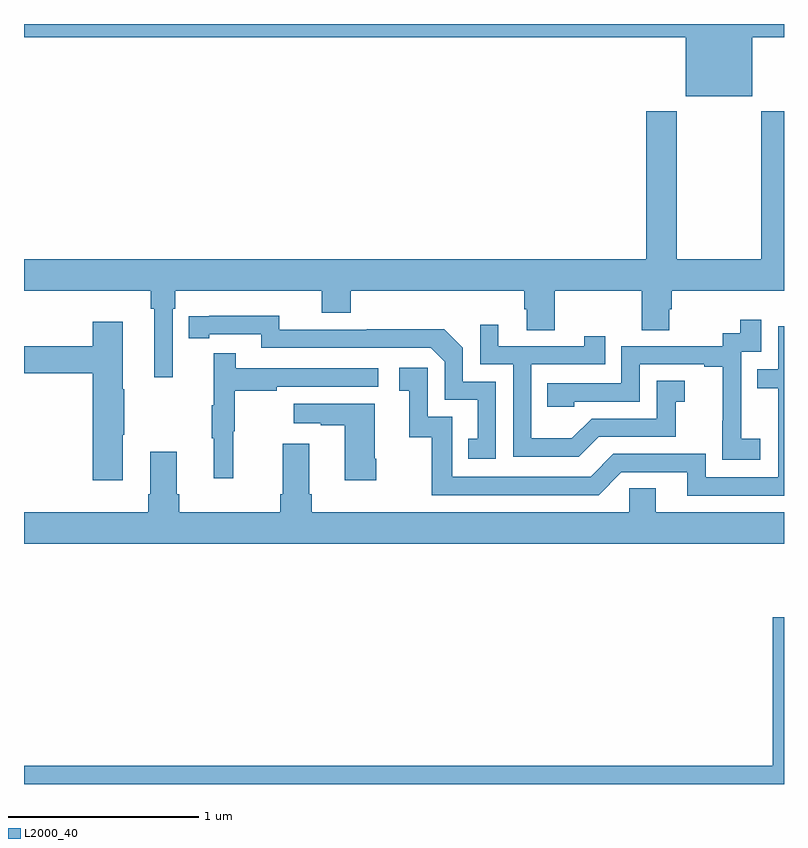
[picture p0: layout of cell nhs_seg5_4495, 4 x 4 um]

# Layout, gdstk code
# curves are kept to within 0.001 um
import gdstk
lib = gdstk.Library(unit=1e-6, precision=1e-09)
def P(c, l, *ps):  # polygons
    for p in ps: c.add(gdstk.Polygon(p, *l))
L2000_40 = (2000, 40)

nhs_seg5_4495 = lib.new_cell('nhs_seg5_4495')
P(nhs_seg5_4495, L2000_40, [(378.832,888.728),(379,888.728),(379,888.799),(375,888.799),(375,888.728),(378.482,888.728),(378.482,888.419),(378.832,888.419)],
  [(375.783,887.3),(375.797,887.3),(375.797,887.396),(376.568,887.396),(376.568,887.279),(376.721,887.279),(376.721,887.396),(377.633,887.396),(377.633,887.298),(377.645,887.298),(377.645,887.188),(377.793,887.188),(377.793,887.396),(378.25,887.396),(378.25,887.188),(378.397,887.188),(378.397,887.298),(378.41,887.298),(378.41,887.396),(379,887.396),(379,888.34),(378.88,888.34),(378.88,887.56),(378.435,887.56),(378.435,888.34),(378.275,888.34),(378.275,887.56),(375,887.56),(375,887.396),(375.667,887.396),(375.667,887.3),(375.686,887.3),(375.686,886.941),(375.783,886.941)],
  [(377.484,886.917),(377.31,886.917),(377.31,887.094),(377.212,887.192),(376.804,887.192),(376.804,887.19),(376.344,887.19),(376.344,887.263),(375.868,887.262),(375.868,887.146),(375.976,887.146),(375.976,887.166),(376.248,887.166),(376.248,887.094),(377.142,887.094),(377.214,887.022),(377.214,886.821),(377.387,886.821),(377.387,886.617),(377.338,886.617),(377.338,886.512),(377.484,886.512)],
  [(378.874,886.615),(378.776,886.615),(378.776,886.844),(378.774,886.844),(378.774,887.073),(378.879,887.073),(378.879,887.242),(378.771,887.242),(378.771,887.172),(378.678,887.172),(378.678,887.103),(378.144,887.103),(378.144,886.908),(377.755,886.908),(377.755,886.785),(377.895,886.785),(377.895,886.812),(378.24,886.812),(378.24,887.007),(378.581,887.007),(378.581,886.995),(378.677,886.995),(378.677,886.711),(378.676,886.711),(378.676,886.505),(378.874,886.505)],
  [(375.52,886.636),(375.528,886.636),(375.528,886.877),(375.52,886.877),(375.52,887.233),(375.362,887.233),(375.362,887.103),(375,887.103),(375,886.961),(375.362,886.961),(375.362,886.398),(375.52,886.398)],
  [(378.025,886.626),(378.429,886.626),(378.429,886.811),(378.478,886.811),(378.478,886.921),(378.33,886.921),(378.33,886.722),(377.988,886.722),(377.884,886.618),(377.67,886.618),(377.67,887.007),(378.059,887.007),(378.059,887.155),(377.948,887.155),(377.948,887.103),(377.497,887.103),(377.497,887.215),(377.4,887.215),(377.4,887.007),(377.574,887.007),(377.574,886.521),(377.92,886.521)],
  [(379,887.208),(378.969,887.208),(378.969,886.983),(378.859,886.983),(378.859,886.882),(378.969,886.882),(378.969,886.413),(378.588,886.413),(378.588,886.536),(378.102,886.536),(377.982,886.416),(377.253,886.416),(377.253,886.731),(377.124,886.731),(377.124,886.99),(376.974,886.99),(376.974,886.869),(377.027,886.869),(377.027,886.623),(377.145,886.623),(377.145,886.32),(378.024,886.32),(378.144,886.44),(378.491,886.44),(378.491,886.317),(379,886.317)],
  [(376.1,886.656),(376.108,886.656),(376.108,886.87),(376.331,886.87),(376.331,886.89),(376.864,886.89),(376.864,886.986),(376.115,886.986),(376.115,887.065),(375.998,887.065),(375.998,886.793),(375.987,886.793),(375.987,886.619),(375.998,886.619),(375.998,886.407),(376.1,886.407)],
  [(376.854,886.51),(376.846,886.51),(376.846,886.801),(376.419,886.801),(376.419,886.697),(376.562,886.697),(376.562,886.687),(376.688,886.687),(376.688,886.398),(376.854,886.398)],
  [(379,886.228),(378.325,886.228),(378.325,886.355),(378.186,886.355),(378.186,886.228),(376.514,886.228),(376.514,886.324),(376.501,886.324),(376.501,886.591),(376.361,886.591),(376.361,886.324),(376.349,886.324),(376.349,886.228),(375.818,886.228),(375.818,886.324),(375.805,886.324),(375.805,886.549),(375.665,886.549),(375.665,886.324),(375.653,886.324),(375.653,886.228),(375,886.228),(375,886.064),(379,886.064)],
  [(379,885.676),(378.941,885.676),(378.941,884.896),(375,884.896),(375,884.799),(379,884.799)])

lib.write_gds('nhs_seg5_4495.gds')
